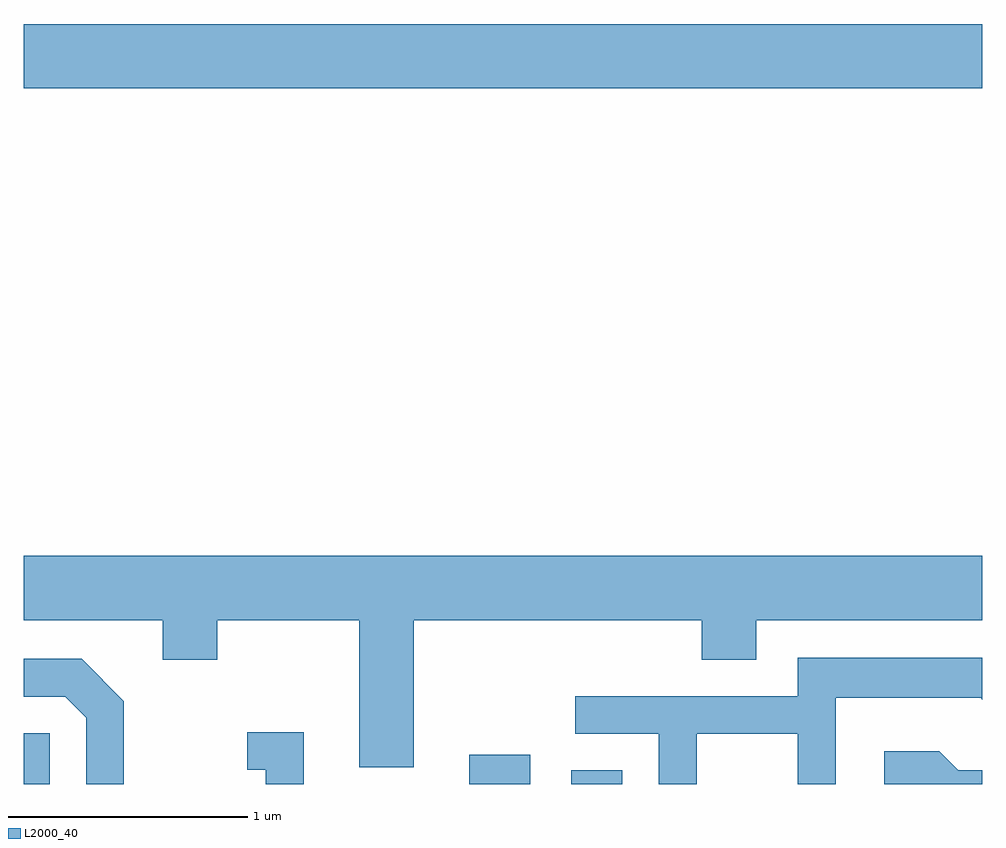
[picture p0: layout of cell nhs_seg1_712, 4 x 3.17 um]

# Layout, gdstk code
import gdstk
lib = gdstk.Library(unit=1e-6, precision=1e-09)
def R(c, l, rs):  # rectangles x0, y0, x1, y1
    for r in rs: c.add(gdstk.rectangle(r[:2], r[2:], *l))
def P(c, l, *ps):  # polygons
    for p in ps: c.add(gdstk.Polygon(p, *l))
L2000_40 = (2000, 40)

nhs_seg1_712 = lib.new_cell('nhs_seg1_712')
R(nhs_seg1_712, L2000_40, [(205.611,967.712,205.719,967.924), (207.471,967.712,207.724,967.834), (207.896,967.712,208.109,967.769), (205.611,970.616,209.611,970.884)])
P(nhs_seg1_712, L2000_40, [(207.239,968.396),(208.441,968.396),(208.441,968.231),(208.669,968.231),(208.669,968.396),(209.611,968.396),(209.611,968.664),(205.611,968.664),(205.611,968.396),(206.191,968.396),(206.191,968.231),(206.419,968.231),(206.419,968.396),(207.011,968.396),(207.011,967.781),(207.239,967.781)],
  [(208.419,967.921),(208.841,967.921),(208.841,967.712),(208.999,967.712),(208.999,968.071),(209.604,968.071),(209.611,968.064),(209.611,968.239),(208.841,968.239),(208.841,968.079),(207.913,968.079),(207.913,967.921),(208.261,967.921),(208.261,967.712),(208.419,967.712)],
  [(206.029,968.057),(205.852,968.234),(205.611,968.234),(205.611,968.076),(205.784,968.076),(205.871,967.989),(205.871,967.712),(206.029,967.712)],
  [(206.779,967.929),(206.543,967.929),(206.543,967.771),(206.621,967.771),(206.621,967.712),(206.779,967.712)],
  [(209.611,967.769),(209.512,967.769),(209.432,967.849),(209.203,967.849),(209.203,967.712),(209.611,967.712)])

lib.write_gds('nhs_seg1_712.gds')
